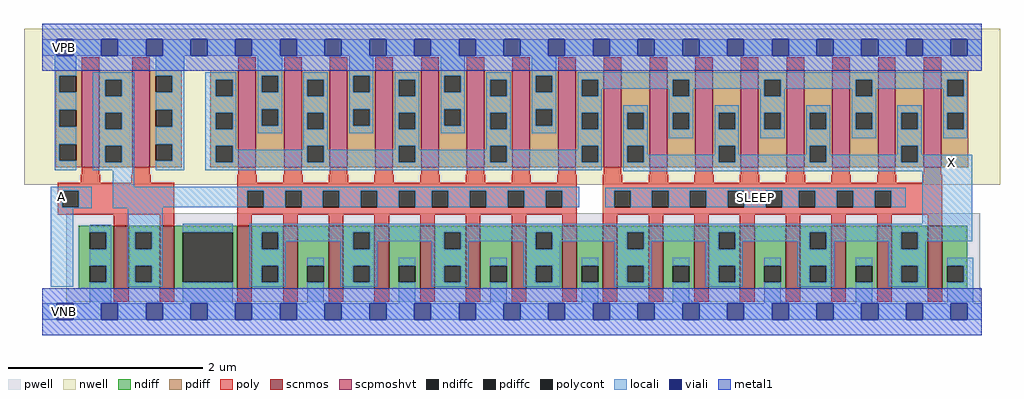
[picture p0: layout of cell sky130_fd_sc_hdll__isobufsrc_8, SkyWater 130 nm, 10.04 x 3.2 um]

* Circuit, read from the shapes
.subckt sky130_fd_sc_hdll__isobufsrc_8 A SLEEP VGND VNB VPB VPWR X
XM1 n1 A VGND VNB sky130_fd_pr__nfet_01v8 w=0.65 l=0.15 m=2
XM2 X n1 VGND VNB sky130_fd_pr__nfet_01v8 w=0.65 l=0.15 m=8
XM3 X SLEEP VGND VNB sky130_fd_pr__nfet_01v8 w=0.65 l=0.15 m=8
XM4 n1 A VPWR VPB sky130_fd_pr__pfet_01v8_hvt w=1 l=0.18 m=2
XM5 VPWR n1 n2 VPB sky130_fd_pr__pfet_01v8_hvt w=1 l=0.18 m=8
XM6 X SLEEP n2 VPB sky130_fd_pr__pfet_01v8_hvt w=1 l=0.18 m=8
.ends

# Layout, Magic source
magic
tech sky130A
magscale 1 2
<< nwell >>
rect -38 261 1970 582
<< pwell >>
rect 49 21 1929 203
rect 49 17 63 21
rect 29 -17 63 17
<< scnmos >>
rect 147 47 177 177
rect 241 47 271 177
rect 401 47 431 177
rect 495 47 525 177
rect 589 47 619 177
rect 683 47 713 177
rect 777 47 807 177
rect 871 47 901 177
rect 965 47 995 177
rect 1069 47 1099 177
rect 1153 47 1183 177
rect 1247 47 1277 177
rect 1341 47 1371 177
rect 1435 47 1465 177
rect 1529 47 1559 177
rect 1623 47 1653 177
rect 1717 47 1747 177
rect 1821 47 1851 177
<< scpmoshvt >>
rect 81 297 117 497
rect 185 297 221 497
rect 403 297 439 497
rect 497 297 533 497
rect 591 297 627 497
rect 685 297 721 497
rect 779 297 815 497
rect 873 297 909 497
rect 967 297 1003 497
rect 1061 297 1097 497
rect 1155 297 1191 497
rect 1249 297 1285 497
rect 1343 297 1379 497
rect 1437 297 1473 497
rect 1531 297 1567 497
rect 1625 297 1661 497
rect 1719 297 1755 497
rect 1813 297 1849 497
<< ndiff >>
rect 75 163 147 177
rect 75 129 97 163
rect 131 129 147 163
rect 75 95 147 129
rect 75 61 97 95
rect 131 61 147 95
rect 75 47 147 61
rect 177 163 241 177
rect 177 129 191 163
rect 225 129 241 163
rect 177 95 241 129
rect 177 61 191 95
rect 225 61 241 95
rect 177 47 241 61
rect 271 163 401 177
rect 271 61 289 163
rect 391 61 401 163
rect 271 47 401 61
rect 431 163 495 177
rect 431 129 451 163
rect 485 129 495 163
rect 431 95 495 129
rect 431 61 451 95
rect 485 61 495 95
rect 431 47 495 61
rect 525 95 589 177
rect 525 61 545 95
rect 579 61 589 95
rect 525 47 589 61
rect 619 163 683 177
rect 619 129 639 163
rect 673 129 683 163
rect 619 95 683 129
rect 619 61 639 95
rect 673 61 683 95
rect 619 47 683 61
rect 713 95 777 177
rect 713 61 733 95
rect 767 61 777 95
rect 713 47 777 61
rect 807 163 871 177
rect 807 129 827 163
rect 861 129 871 163
rect 807 95 871 129
rect 807 61 827 95
rect 861 61 871 95
rect 807 47 871 61
rect 901 95 965 177
rect 901 61 921 95
rect 955 61 965 95
rect 901 47 965 61
rect 995 163 1069 177
rect 995 129 1015 163
rect 1049 129 1069 163
rect 995 95 1069 129
rect 995 61 1015 95
rect 1049 61 1069 95
rect 995 47 1069 61
rect 1099 95 1153 177
rect 1099 61 1109 95
rect 1143 61 1153 95
rect 1099 47 1153 61
rect 1183 163 1247 177
rect 1183 129 1203 163
rect 1237 129 1247 163
rect 1183 95 1247 129
rect 1183 61 1203 95
rect 1237 61 1247 95
rect 1183 47 1247 61
rect 1277 95 1341 177
rect 1277 61 1297 95
rect 1331 61 1341 95
rect 1277 47 1341 61
rect 1371 163 1435 177
rect 1371 129 1391 163
rect 1425 129 1435 163
rect 1371 95 1435 129
rect 1371 61 1391 95
rect 1425 61 1435 95
rect 1371 47 1435 61
rect 1465 95 1529 177
rect 1465 61 1485 95
rect 1519 61 1529 95
rect 1465 47 1529 61
rect 1559 163 1623 177
rect 1559 129 1579 163
rect 1613 129 1623 163
rect 1559 95 1623 129
rect 1559 61 1579 95
rect 1613 61 1623 95
rect 1559 47 1623 61
rect 1653 95 1717 177
rect 1653 61 1673 95
rect 1707 61 1717 95
rect 1653 47 1717 61
rect 1747 163 1821 177
rect 1747 129 1767 163
rect 1801 129 1821 163
rect 1747 95 1821 129
rect 1747 61 1767 95
rect 1801 61 1821 95
rect 1747 47 1821 61
rect 1851 95 1903 177
rect 1851 61 1861 95
rect 1895 61 1903 95
rect 1851 47 1903 61
<< pdiff >>
rect 27 485 81 497
rect 27 451 35 485
rect 69 451 81 485
rect 27 415 81 451
rect 27 381 35 415
rect 69 381 81 415
rect 27 345 81 381
rect 27 311 35 345
rect 69 311 81 345
rect 27 297 81 311
rect 117 477 185 497
rect 117 443 129 477
rect 163 443 185 477
rect 117 409 185 443
rect 117 375 129 409
rect 163 375 185 409
rect 117 341 185 375
rect 117 307 129 341
rect 163 307 185 341
rect 117 297 185 307
rect 221 485 287 497
rect 221 451 233 485
rect 267 451 287 485
rect 221 415 287 451
rect 221 381 233 415
rect 267 381 287 415
rect 221 345 287 381
rect 221 311 233 345
rect 267 311 287 345
rect 221 297 287 311
rect 345 477 403 497
rect 345 443 357 477
rect 391 443 403 477
rect 345 409 403 443
rect 345 375 357 409
rect 391 375 403 409
rect 345 341 403 375
rect 345 307 357 341
rect 391 307 403 341
rect 345 297 403 307
rect 439 485 497 497
rect 439 451 451 485
rect 485 451 497 485
rect 439 417 497 451
rect 439 383 451 417
rect 485 383 497 417
rect 439 297 497 383
rect 533 477 591 497
rect 533 443 545 477
rect 579 443 591 477
rect 533 409 591 443
rect 533 375 545 409
rect 579 375 591 409
rect 533 341 591 375
rect 533 307 545 341
rect 579 307 591 341
rect 533 297 591 307
rect 627 485 685 497
rect 627 451 639 485
rect 673 451 685 485
rect 627 417 685 451
rect 627 383 639 417
rect 673 383 685 417
rect 627 297 685 383
rect 721 477 779 497
rect 721 443 733 477
rect 767 443 779 477
rect 721 409 779 443
rect 721 375 733 409
rect 767 375 779 409
rect 721 341 779 375
rect 721 307 733 341
rect 767 307 779 341
rect 721 297 779 307
rect 815 485 873 497
rect 815 451 827 485
rect 861 451 873 485
rect 815 417 873 451
rect 815 383 827 417
rect 861 383 873 417
rect 815 297 873 383
rect 909 477 967 497
rect 909 443 921 477
rect 955 443 967 477
rect 909 409 967 443
rect 909 375 921 409
rect 955 375 967 409
rect 909 341 967 375
rect 909 307 921 341
rect 955 307 967 341
rect 909 297 967 307
rect 1003 485 1061 497
rect 1003 451 1015 485
rect 1049 451 1061 485
rect 1003 417 1061 451
rect 1003 383 1015 417
rect 1049 383 1061 417
rect 1003 297 1061 383
rect 1097 477 1155 497
rect 1097 443 1109 477
rect 1143 443 1155 477
rect 1097 409 1155 443
rect 1097 375 1109 409
rect 1143 375 1155 409
rect 1097 341 1155 375
rect 1097 307 1109 341
rect 1143 307 1155 341
rect 1097 297 1155 307
rect 1191 409 1249 497
rect 1191 375 1203 409
rect 1237 375 1249 409
rect 1191 341 1249 375
rect 1191 307 1203 341
rect 1237 307 1249 341
rect 1191 297 1249 307
rect 1285 477 1343 497
rect 1285 443 1297 477
rect 1331 443 1343 477
rect 1285 409 1343 443
rect 1285 375 1297 409
rect 1331 375 1343 409
rect 1285 297 1343 375
rect 1379 409 1437 497
rect 1379 375 1391 409
rect 1425 375 1437 409
rect 1379 341 1437 375
rect 1379 307 1391 341
rect 1425 307 1437 341
rect 1379 297 1437 307
rect 1473 477 1531 497
rect 1473 443 1485 477
rect 1519 443 1531 477
rect 1473 409 1531 443
rect 1473 375 1485 409
rect 1519 375 1531 409
rect 1473 297 1531 375
rect 1567 409 1625 497
rect 1567 375 1579 409
rect 1613 375 1625 409
rect 1567 341 1625 375
rect 1567 307 1579 341
rect 1613 307 1625 341
rect 1567 297 1625 307
rect 1661 477 1719 497
rect 1661 443 1673 477
rect 1707 443 1719 477
rect 1661 409 1719 443
rect 1661 375 1673 409
rect 1707 375 1719 409
rect 1661 297 1719 375
rect 1755 409 1813 497
rect 1755 375 1767 409
rect 1801 375 1813 409
rect 1755 341 1813 375
rect 1755 307 1767 341
rect 1801 307 1813 341
rect 1755 297 1813 307
rect 1849 477 1905 497
rect 1849 443 1861 477
rect 1895 443 1905 477
rect 1849 409 1905 443
rect 1849 375 1861 409
rect 1895 375 1905 409
rect 1849 297 1905 375
<< ndiffc >>
rect 97 129 131 163
rect 97 61 131 95
rect 191 129 225 163
rect 191 61 225 95
rect 289 61 391 163
rect 451 129 485 163
rect 451 61 485 95
rect 545 61 579 95
rect 639 129 673 163
rect 639 61 673 95
rect 733 61 767 95
rect 827 129 861 163
rect 827 61 861 95
rect 921 61 955 95
rect 1015 129 1049 163
rect 1015 61 1049 95
rect 1109 61 1143 95
rect 1203 129 1237 163
rect 1203 61 1237 95
rect 1297 61 1331 95
rect 1391 129 1425 163
rect 1391 61 1425 95
rect 1485 61 1519 95
rect 1579 129 1613 163
rect 1579 61 1613 95
rect 1673 61 1707 95
rect 1767 129 1801 163
rect 1767 61 1801 95
rect 1861 61 1895 95
<< pdiffc >>
rect 35 451 69 485
rect 35 381 69 415
rect 35 311 69 345
rect 129 443 163 477
rect 129 375 163 409
rect 129 307 163 341
rect 233 451 267 485
rect 233 381 267 415
rect 233 311 267 345
rect 357 443 391 477
rect 357 375 391 409
rect 357 307 391 341
rect 451 451 485 485
rect 451 383 485 417
rect 545 443 579 477
rect 545 375 579 409
rect 545 307 579 341
rect 639 451 673 485
rect 639 383 673 417
rect 733 443 767 477
rect 733 375 767 409
rect 733 307 767 341
rect 827 451 861 485
rect 827 383 861 417
rect 921 443 955 477
rect 921 375 955 409
rect 921 307 955 341
rect 1015 451 1049 485
rect 1015 383 1049 417
rect 1109 443 1143 477
rect 1109 375 1143 409
rect 1109 307 1143 341
rect 1203 375 1237 409
rect 1203 307 1237 341
rect 1297 443 1331 477
rect 1297 375 1331 409
rect 1391 375 1425 409
rect 1391 307 1425 341
rect 1485 443 1519 477
rect 1485 375 1519 409
rect 1579 375 1613 409
rect 1579 307 1613 341
rect 1673 443 1707 477
rect 1673 375 1707 409
rect 1767 375 1801 409
rect 1767 307 1801 341
rect 1861 443 1895 477
rect 1861 375 1895 409
<< poly >>
rect 81 497 117 523
rect 185 497 221 523
rect 403 497 439 523
rect 497 497 533 523
rect 591 497 627 523
rect 685 497 721 523
rect 779 497 815 523
rect 873 497 909 523
rect 967 497 1003 523
rect 1061 497 1097 523
rect 1155 497 1191 523
rect 1249 497 1285 523
rect 1343 497 1379 523
rect 1437 497 1473 523
rect 1531 497 1567 523
rect 1625 497 1661 523
rect 1719 497 1755 523
rect 1813 497 1849 523
rect 81 282 117 297
rect 185 282 221 297
rect 403 282 439 297
rect 497 282 533 297
rect 591 282 627 297
rect 685 282 721 297
rect 779 282 815 297
rect 873 282 909 297
rect 967 282 1003 297
rect 1061 282 1097 297
rect 1155 282 1191 297
rect 1249 282 1285 297
rect 1343 282 1379 297
rect 1437 282 1473 297
rect 1531 282 1567 297
rect 1625 282 1661 297
rect 1719 282 1755 297
rect 1813 282 1849 297
rect 79 265 119 282
rect 183 265 223 282
rect 401 265 441 282
rect 495 265 535 282
rect 589 265 629 282
rect 683 265 723 282
rect 777 265 817 282
rect 871 265 911 282
rect 965 265 1005 282
rect 1059 265 1099 282
rect 31 249 271 265
rect 31 215 41 249
rect 75 215 271 249
rect 31 199 271 215
rect 147 177 177 199
rect 241 177 271 199
rect 401 249 1099 265
rect 401 215 421 249
rect 455 215 499 249
rect 533 215 577 249
rect 611 215 655 249
rect 689 215 733 249
rect 767 215 801 249
rect 835 215 879 249
rect 913 215 957 249
rect 991 215 1035 249
rect 1069 215 1099 249
rect 401 199 1099 215
rect 401 177 431 199
rect 495 177 525 199
rect 589 177 619 199
rect 683 177 713 199
rect 777 177 807 199
rect 871 177 901 199
rect 965 177 995 199
rect 1069 177 1099 199
rect 1153 265 1193 282
rect 1247 265 1287 282
rect 1341 265 1381 282
rect 1435 265 1475 282
rect 1529 265 1569 282
rect 1623 265 1663 282
rect 1717 265 1757 282
rect 1811 265 1851 282
rect 1153 249 1851 265
rect 1153 215 1176 249
rect 1210 215 1254 249
rect 1288 215 1332 249
rect 1366 215 1410 249
rect 1444 215 1488 249
rect 1522 215 1556 249
rect 1590 215 1634 249
rect 1668 215 1712 249
rect 1746 215 1851 249
rect 1153 199 1851 215
rect 1153 177 1183 199
rect 1247 177 1277 199
rect 1341 177 1371 199
rect 1435 177 1465 199
rect 1529 177 1559 199
rect 1623 177 1653 199
rect 1717 177 1747 199
rect 1821 177 1851 199
rect 147 21 177 47
rect 241 21 271 47
rect 401 21 431 47
rect 495 21 525 47
rect 589 21 619 47
rect 683 21 713 47
rect 777 21 807 47
rect 871 21 901 47
rect 965 21 995 47
rect 1069 21 1099 47
rect 1153 21 1183 47
rect 1247 21 1277 47
rect 1341 21 1371 47
rect 1435 21 1465 47
rect 1529 21 1559 47
rect 1623 21 1653 47
rect 1717 21 1747 47
rect 1821 21 1851 47
<< polycont >>
rect 41 215 75 249
rect 421 215 455 249
rect 499 215 533 249
rect 577 215 611 249
rect 655 215 689 249
rect 733 215 767 249
rect 801 215 835 249
rect 879 215 913 249
rect 957 215 991 249
rect 1035 215 1069 249
rect 1176 215 1210 249
rect 1254 215 1288 249
rect 1332 215 1366 249
rect 1410 215 1444 249
rect 1488 215 1522 249
rect 1556 215 1590 249
rect 1634 215 1668 249
rect 1712 215 1746 249
<< locali >>
rect 0 527 29 561
rect 63 527 121 561
rect 155 527 213 561
rect 247 527 305 561
rect 339 527 397 561
rect 431 527 489 561
rect 523 527 581 561
rect 615 527 673 561
rect 707 527 765 561
rect 799 527 857 561
rect 891 527 949 561
rect 983 527 1041 561
rect 1075 527 1133 561
rect 1167 527 1225 561
rect 1259 527 1317 561
rect 1351 527 1409 561
rect 1443 527 1501 561
rect 1535 527 1593 561
rect 1627 527 1685 561
rect 1719 527 1777 561
rect 1811 527 1869 561
rect 1903 527 1932 561
rect 25 485 69 527
rect 25 451 35 485
rect 25 415 69 451
rect 25 381 35 415
rect 25 345 69 381
rect 25 311 35 345
rect 25 291 69 311
rect 103 477 189 493
rect 103 443 129 477
rect 163 443 189 477
rect 103 409 189 443
rect 103 375 129 409
rect 163 375 189 409
rect 103 341 189 375
rect 103 307 129 341
rect 163 307 189 341
rect 103 291 189 307
rect 233 485 292 527
rect 267 451 292 485
rect 233 415 292 451
rect 267 381 292 415
rect 233 345 292 381
rect 267 311 292 345
rect 233 291 292 311
rect 335 477 399 493
rect 335 443 357 477
rect 391 443 399 477
rect 335 409 399 443
rect 335 375 357 409
rect 391 375 399 409
rect 335 341 399 375
rect 443 485 493 527
rect 443 451 451 485
rect 485 451 493 485
rect 443 417 493 451
rect 443 383 451 417
rect 485 383 493 417
rect 443 367 493 383
rect 537 477 587 493
rect 537 443 545 477
rect 579 443 587 477
rect 537 409 587 443
rect 537 375 545 409
rect 579 375 587 409
rect 335 307 357 341
rect 391 333 399 341
rect 537 341 587 375
rect 631 485 681 527
rect 631 451 639 485
rect 673 451 681 485
rect 631 417 681 451
rect 631 383 639 417
rect 673 383 681 417
rect 631 367 681 383
rect 725 477 775 493
rect 725 443 733 477
rect 767 443 775 477
rect 725 409 775 443
rect 725 375 733 409
rect 767 375 775 409
rect 537 333 545 341
rect 391 307 545 333
rect 579 333 587 341
rect 725 341 775 375
rect 819 485 869 527
rect 819 451 827 485
rect 861 451 869 485
rect 819 417 869 451
rect 819 383 827 417
rect 861 383 869 417
rect 819 367 869 383
rect 913 477 963 493
rect 913 443 921 477
rect 955 443 963 477
rect 913 409 963 443
rect 913 375 921 409
rect 955 375 963 409
rect 725 333 733 341
rect 579 307 733 333
rect 767 333 775 341
rect 913 341 963 375
rect 1007 485 1057 527
rect 1007 451 1015 485
rect 1049 451 1057 485
rect 1007 417 1057 451
rect 1007 383 1015 417
rect 1049 383 1057 417
rect 1007 367 1057 383
rect 1101 477 1903 493
rect 1101 443 1109 477
rect 1143 459 1297 477
rect 1143 443 1151 459
rect 1101 409 1151 443
rect 1289 443 1297 459
rect 1331 459 1485 477
rect 1331 443 1339 459
rect 1101 375 1109 409
rect 1143 375 1151 409
rect 913 333 921 341
rect 767 307 921 333
rect 955 333 963 341
rect 1101 341 1151 375
rect 1101 333 1109 341
rect 955 307 1109 333
rect 1143 307 1151 341
rect 335 291 1151 307
rect 1195 409 1245 425
rect 1195 375 1203 409
rect 1237 375 1245 409
rect 1195 341 1245 375
rect 1289 409 1339 443
rect 1477 443 1485 459
rect 1519 459 1673 477
rect 1519 443 1527 459
rect 1289 375 1297 409
rect 1331 375 1339 409
rect 1289 357 1339 375
rect 1383 409 1433 425
rect 1383 375 1391 409
rect 1425 375 1433 409
rect 1195 307 1203 341
rect 1237 323 1245 341
rect 1383 341 1433 375
rect 1477 409 1527 443
rect 1665 443 1673 459
rect 1707 459 1861 477
rect 1707 443 1715 459
rect 1477 375 1485 409
rect 1519 375 1527 409
rect 1477 357 1527 375
rect 1571 409 1621 425
rect 1571 375 1579 409
rect 1613 375 1621 409
rect 1383 323 1391 341
rect 1237 307 1391 323
rect 1425 323 1433 341
rect 1571 341 1621 375
rect 1665 409 1715 443
rect 1853 443 1861 459
rect 1895 443 1903 477
rect 1665 375 1673 409
rect 1707 375 1715 409
rect 1665 357 1715 375
rect 1759 409 1809 425
rect 1759 375 1767 409
rect 1801 375 1809 409
rect 1571 323 1579 341
rect 1425 307 1579 323
rect 1613 323 1621 341
rect 1759 341 1809 375
rect 1853 409 1903 443
rect 1853 375 1861 409
rect 1895 375 1903 409
rect 1853 357 1903 375
rect 1759 323 1767 341
rect 1613 307 1767 323
rect 1801 323 1809 341
rect 1801 307 1913 323
rect 145 257 189 291
rect 1195 289 1913 307
rect 17 249 101 257
rect 17 215 41 249
rect 75 215 101 249
rect 17 213 101 215
rect 145 249 1104 257
rect 145 215 421 249
rect 455 215 499 249
rect 533 215 577 249
rect 611 215 655 249
rect 689 215 733 249
rect 767 215 801 249
rect 835 215 879 249
rect 913 215 957 249
rect 991 215 1035 249
rect 1069 215 1104 249
rect 1158 249 1776 255
rect 1158 215 1176 249
rect 1210 215 1254 249
rect 1288 215 1332 249
rect 1366 215 1410 249
rect 1444 215 1488 249
rect 1522 215 1556 249
rect 1590 215 1634 249
rect 1668 215 1712 249
rect 1746 215 1776 249
rect 145 213 247 215
rect 17 51 63 213
rect 97 163 141 179
rect 131 129 141 163
rect 97 95 141 129
rect 131 61 141 95
rect 97 17 141 61
rect 175 163 247 213
rect 1810 181 1913 289
rect 175 129 191 163
rect 225 129 247 163
rect 175 95 247 129
rect 175 61 191 95
rect 225 61 247 95
rect 175 51 247 61
rect 289 163 391 181
rect 289 17 391 61
rect 425 163 1913 181
rect 425 129 451 163
rect 485 145 639 163
rect 485 129 501 145
rect 425 95 501 129
rect 613 129 639 145
rect 673 145 827 163
rect 673 129 689 145
rect 425 61 451 95
rect 485 61 501 95
rect 425 51 501 61
rect 545 95 579 111
rect 545 17 579 61
rect 613 95 689 129
rect 801 129 827 145
rect 861 145 1015 163
rect 861 129 877 145
rect 613 61 639 95
rect 673 61 689 95
rect 613 51 689 61
rect 733 95 767 111
rect 733 17 767 61
rect 801 95 877 129
rect 989 129 1015 145
rect 1049 145 1203 163
rect 1049 129 1065 145
rect 801 61 827 95
rect 861 61 877 95
rect 801 51 877 61
rect 921 95 955 111
rect 921 17 955 61
rect 989 95 1065 129
rect 1177 129 1203 145
rect 1237 145 1391 163
rect 1237 129 1253 145
rect 989 61 1015 95
rect 1049 61 1065 95
rect 989 51 1065 61
rect 1109 95 1143 111
rect 1109 17 1143 61
rect 1177 95 1253 129
rect 1365 129 1391 145
rect 1425 145 1579 163
rect 1425 129 1441 145
rect 1177 61 1203 95
rect 1237 61 1253 95
rect 1177 51 1253 61
rect 1297 95 1331 111
rect 1297 17 1331 61
rect 1365 95 1441 129
rect 1553 129 1579 145
rect 1613 145 1767 163
rect 1613 129 1629 145
rect 1365 61 1391 95
rect 1425 61 1441 95
rect 1365 51 1441 61
rect 1485 95 1519 111
rect 1485 17 1519 61
rect 1553 95 1629 129
rect 1741 129 1767 145
rect 1801 145 1913 163
rect 1801 129 1817 145
rect 1553 61 1579 95
rect 1613 61 1629 95
rect 1553 51 1629 61
rect 1673 95 1707 111
rect 1673 17 1707 61
rect 1741 95 1817 129
rect 1741 61 1767 95
rect 1801 61 1817 95
rect 1741 51 1817 61
rect 1861 95 1915 111
rect 1895 61 1915 95
rect 1861 17 1915 61
rect 0 -17 29 17
rect 63 -17 121 17
rect 155 -17 213 17
rect 247 -17 305 17
rect 339 -17 397 17
rect 431 -17 489 17
rect 523 -17 581 17
rect 615 -17 673 17
rect 707 -17 765 17
rect 799 -17 857 17
rect 891 -17 949 17
rect 983 -17 1041 17
rect 1075 -17 1133 17
rect 1167 -17 1225 17
rect 1259 -17 1317 17
rect 1351 -17 1409 17
rect 1443 -17 1501 17
rect 1535 -17 1593 17
rect 1627 -17 1685 17
rect 1719 -17 1777 17
rect 1811 -17 1869 17
rect 1903 -17 1932 17
<< viali >>
rect 29 527 63 561
rect 121 527 155 561
rect 213 527 247 561
rect 305 527 339 561
rect 397 527 431 561
rect 489 527 523 561
rect 581 527 615 561
rect 673 527 707 561
rect 765 527 799 561
rect 857 527 891 561
rect 949 527 983 561
rect 1041 527 1075 561
rect 1133 527 1167 561
rect 1225 527 1259 561
rect 1317 527 1351 561
rect 1409 527 1443 561
rect 1501 527 1535 561
rect 1593 527 1627 561
rect 1685 527 1719 561
rect 1777 527 1811 561
rect 1869 527 1903 561
rect 29 -17 63 17
rect 121 -17 155 17
rect 213 -17 247 17
rect 305 -17 339 17
rect 397 -17 431 17
rect 489 -17 523 17
rect 581 -17 615 17
rect 673 -17 707 17
rect 765 -17 799 17
rect 857 -17 891 17
rect 949 -17 983 17
rect 1041 -17 1075 17
rect 1133 -17 1167 17
rect 1225 -17 1259 17
rect 1317 -17 1351 17
rect 1409 -17 1443 17
rect 1501 -17 1535 17
rect 1593 -17 1627 17
rect 1685 -17 1719 17
rect 1777 -17 1811 17
rect 1869 -17 1903 17
<< metal1 >>
rect 0 561 1932 592
rect 0 527 29 561
rect 63 527 121 561
rect 155 527 213 561
rect 247 527 305 561
rect 339 527 397 561
rect 431 527 489 561
rect 523 527 581 561
rect 615 527 673 561
rect 707 527 765 561
rect 799 527 857 561
rect 891 527 949 561
rect 983 527 1041 561
rect 1075 527 1133 561
rect 1167 527 1225 561
rect 1259 527 1317 561
rect 1351 527 1409 561
rect 1443 527 1501 561
rect 1535 527 1593 561
rect 1627 527 1685 561
rect 1719 527 1777 561
rect 1811 527 1869 561
rect 1903 527 1932 561
rect 0 496 1932 527
rect 0 17 1932 48
rect 0 -17 29 17
rect 63 -17 121 17
rect 155 -17 213 17
rect 247 -17 305 17
rect 339 -17 397 17
rect 431 -17 489 17
rect 523 -17 581 17
rect 615 -17 673 17
rect 707 -17 765 17
rect 799 -17 857 17
rect 891 -17 949 17
rect 983 -17 1041 17
rect 1075 -17 1133 17
rect 1167 -17 1225 17
rect 1259 -17 1317 17
rect 1351 -17 1409 17
rect 1443 -17 1501 17
rect 1535 -17 1593 17
rect 1627 -17 1685 17
rect 1719 -17 1777 17
rect 1811 -17 1869 17
rect 1903 -17 1932 17
rect 0 -48 1932 -17
<< labels >>
flabel locali s 23 221 57 255 0 FreeSans 400 0 0 0 A
port 1 nsew signal input
flabel locali s 1854 289 1888 323 0 FreeSans 400 0 0 0 X
port 7 nsew signal output
flabel locali s 1158 215 1776 255 0 FreeSans 400 0 0 0 SLEEP
port 2 nsew signal input
flabel nwell s 29 527 63 561 0 FreeSans 200 0 0 0 VPB
port 5 nsew power bidirectional
flabel pwell s 29 -17 63 17 0 FreeSans 200 0 0 0 VNB
port 4 nsew ground bidirectional
flabel metal1 s 29 -17 63 17 0 FreeSans 200 0 0 0 VGND
port 3 nsew ground bidirectional
flabel metal1 s 29 527 63 561 0 FreeSans 200 0 0 0 VPWR
port 6 nsew power bidirectional
rlabel comment s 0 0 0 0 4 sky130_fd_sc_hdll__lpflow_isobufsrc_8
<< properties >>
string LEFsite unithd
string LEFclass CORE
string FIXED_BBOX 0 0 1932 544
string GDS_FILE $PDKPATH/libs.ref/sky130_fd_sc_hdll/gds/sky130_fd_sc_hdll.gds
string LEFsymmetry X Y R90
string GDS_END 112940
string GDS_START 98754
string LEFproperties maskLayoutSubType "abstract" prCellType "standard" originalViewName "layout"
<< end >>
